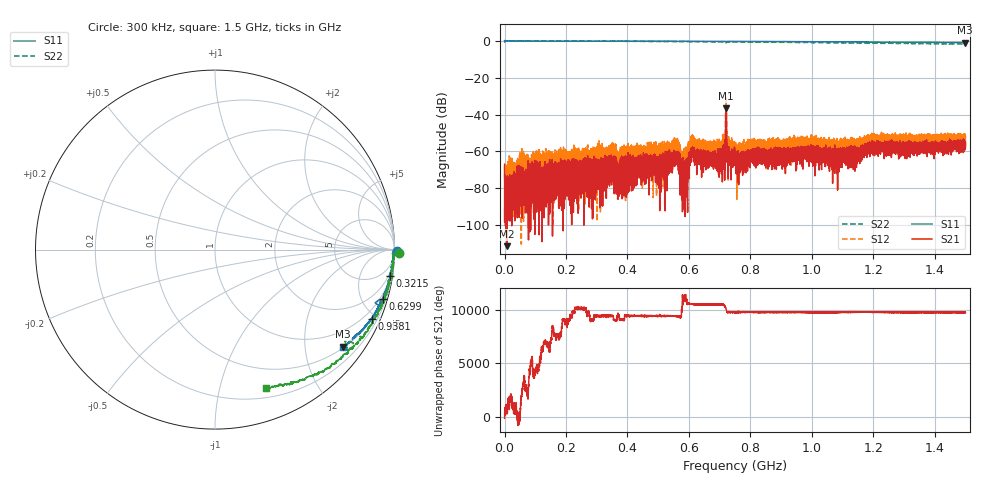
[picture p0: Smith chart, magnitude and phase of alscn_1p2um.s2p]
!Agilent Technologies,N5230C,SG49000117,A.08.50.07
!Agilent N5230C: A.08.50.07
!Date: Wednesday, December 06, 2023 22:02:28
!Correction: S11(Full 2 Port(1,2))
!S21(Full 2 Port(1,2))
!S12(Full 2 Port(1,2))
!S22(Full 2 Port(1,2))
!S2P File: Measurements: S11, S21, S12, S22:
# Hz S  RI  R 50
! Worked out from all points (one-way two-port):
!   20001 points, 300 kHz to 1.5 GHz, reference 50 ohm
!   highest |S21| = -36.57 dB at 721.7 MHz (marker M1); lowest = -111.5 dB at 8.398 MHz (marker M2)
!   lowest |S11| = -1.0 dB at 1.497 GHz (marker M3), VSWR 18.12, Z = 26.5 - j145 ohm
!   |S11| at or under -10 dB: nowhere
!   |S22| runs from -1.7 to 0.2 dB; largest |S21 - S12| = 0.013
!   S11 on the Smith chart (normalised r, x): 300 kHz: open; 321.5 MHz: 1, -13; 629.9 MHz: 0.68, -6.92; 938.1 MHz: 0.54, -4.68; 1.5 GHz: 0.52, -2.89
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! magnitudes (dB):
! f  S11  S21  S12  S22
! 300 kHz  0.1  -67.1  -75.2  0.2
! 8.398 MHz  0.0  -111.5  -80.1  -0.1
! 62.39 MHz  0.0  -84.4  -64.5  -0.1
! 250.3 MHz  -0.1  -72.9  -70.1  -0.1
! 321.5 MHz  -0.1  -69.5  -60.5  -0.2
! 356 MHz  -0.1  -68.6  -58.8  -0.2
! 371.4 MHz  -0.1  -69.6  -75.8  -0.1
! 500.2 MHz  -0.2  -63.6  -59.1  -0.3
! 560.1 MHz  -0.2  -62.1  -60.3  -0.4
! 580.8 MHz  -0.2  -72.8  -72.5  -0.3
! 609.9 MHz  -0.2  -58.9  -54.7  -0.5
! 629.9 MHz  -0.2  -63.6  -58.3  -0.5
! 701.5 MHz  -0.3  -65.5  -57.1  -0.5
! 716.6 MHz  -0.3  -75.7  -63.1  -0.6
! 721.7 MHz  -0.5  -36.6  -31.2  -1.1
! 731.8 MHz  -0.3  -63.0  -56.5  -0.6
! 750.1 MHz  -0.3  -64.3  -55.0  -0.6
! 938.1 MHz  -0.4  -65.5  -55.3  -0.8
! 1 GHz  -0.5  -62.1  -54.2  -0.9
! 1.25 GHz  -0.7  -58.9  -53.8  -1.3
! 1.497 GHz  -1.0  -55.1  -53.7  -1.7
! 1.5 GHz  -0.9  -57.0  -53.0  -1.7
